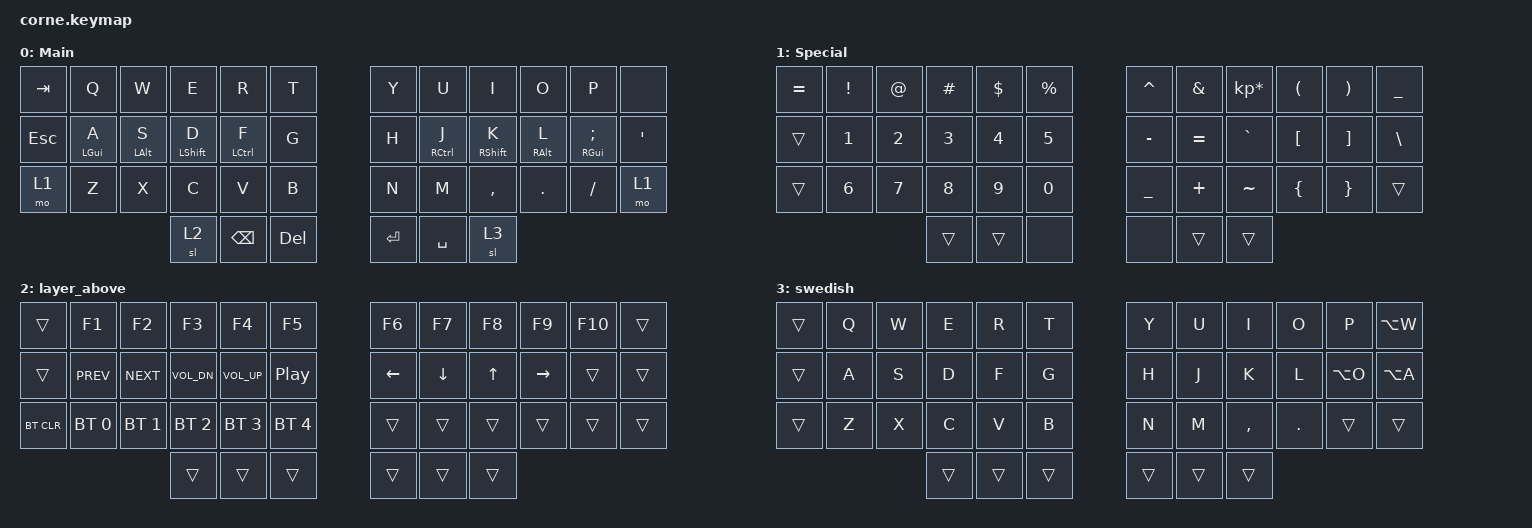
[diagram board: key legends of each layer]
#include <behaviors.dtsi>
#include <dt-bindings/zmk/bt.h>
#include <dt-bindings/zmk/keys.h>

// dt-formatter: indent = "  "
// dt-formatter: multilineIntegerCellsIndent = "reindent"
// dt-formatter: multilineListCommaStyle = "leading"

/ {
  behaviors {
    tp: tp {
      compatible = "zmk,behavior-hold-tap";
      label = "POSITIONAL_HOLD_TAP";
      bindings = <&kp>, <&kp>;

      #binding-cells = <2>;
      tapping-term-ms = <220>;
      quick-tap-ms = <250>;
      hold-trigger-on-release;
      flavor = "tap-preferred";
    };
  };

  macros {
    s_a: s_a {
      compatible = "zmk,behavior-macro";
      #binding-cells = <0>;
      bindings = <&kp LA(A)>;
      label = "S_A";
    };

    s_ae: s_ae {
      compatible = "zmk,behavior-macro";
      #binding-cells = <0>;
      bindings = <&kp LA(U) &kp A>;
      label = "S_AE";
    };

    s_oe: s_oe {
      compatible = "zmk,behavior-macro";
      #binding-cells = <0>;
      bindings = <&kp LA(U) &kp O>;
      label = "S_OE";
    };
  };

  combos {
    compatible = "zmk,combos";

    to_swedish_layer {
      bindings = <&to 2>;
      key-positions = <0 11>;
      layers = <0>;
    };

    to_default_layer {
      bindings = <&to 0>;
      key-positions = <0 11>;
      layers = <2>;
    };
  };

  keymap {
    compatible = "zmk,keymap";

    Main {
      // -----------------------------------------------------------------------------------------
      // | TAB  |  Q  |  W  |  E  |  R  |    T    |   |  Y  |  U   |  I  |  O  |  P  | ESC |
      // | CTRL |  A  |  S  |  D  |  F  |    G    |   |  H  |  J   |  K  |  L  |  ;  |  '   |
      // | SHFT |  Z  |  X  |  C  |  V  |    B    |   |  N  |  M   |  ,  |  .  |  /  | SHFT |
      //                    | GUI | LWR | ALT/ENT |   | HYPER/SPC | BKSP  | RSE |

      bindings = <
        &kp TAB     &kp Q           &kp W           &kp E             &kp R          &kp T         &kp Y      &kp U        &kp I        &kp O            &kp P                    &none
        &kp ESCAPE  &tp LEFT_GUI A  &tp LEFT_ALT S  &tp LEFT_SHIFT D  &tp LCTRL F    &kp G         &kp H      &tp RCTRL J  &tp RSHFT K  &tp RIGHT_ALT L  &tp RIGHT_GUI SEMICOLON  &kp SINGLE_QUOTE
        &mo 1       &kp Z           &kp X           &kp C             &kp V          &kp B         &kp N      &kp M        &kp COMMA    &kp DOT          &kp FSLH                 &mo 1
                                                    &sl 2             &kp BACKSPACE  &kp DELETE    &kp ENTER  &kp SPACE    &sl 3
      >;
    };

    Special {
      // -----------------------------------------------------------------------------------------
      // |      |  !  |  @  |  #  |  $  |    %     |   |  ^  |  &  |  *  |  (  |  )  |   \   |
      // |      |  1  |  2  |  3  |  4  |    5     |   |  -  |  =  |  `  |  [  |  ]  |  "|"  |
      // | SHFT |  6  |  7  |  8  |  9  |    0     |   |  _  |  +  |  ~  |  {  |  }  | RSHFT |
      //                     | GUI |     | ALT/ENT |   | HYPER/SPACE | BKSP |    |

      bindings = <
        &kp EQUAL  &kp EXCL  &kp AT  &kp HASH  &kp DLLR  &kp PRCNT    &kp CARET  &kp AMPS   &kp KP_MULTIPLY  &kp LPAR  &kp RPAR  &kp UNDERSCORE
        &trans     &kp N1    &kp N2  &kp N3    &kp N4    &kp N5       &kp MINUS  &kp EQUAL  &kp GRAVE        &kp LBKT  &kp RBKT  &kp BACKSLASH
        &trans     &kp N6    &kp N7  &kp N8    &kp N9    &kp N0       &kp UNDER  &kp PLUS   &kp TILDE        &kp LBRC  &kp RBRC  &trans
                                     &trans    &trans    &none        &none      &trans     &trans
      >;
    };

    layer_above {
      // -----------------------------------------------------------------------------------------
      // |       |  F1  |  F2  |  F3  |  F4  |  F5 |            |  F6  |  F7  |  F8  |  F9  |  F10  |   |
      // |       | Prev | Next | Vol - | Vol + | Play/Pause |   |      | LFT | DWN |  UP | RGT |     |     |
      // | BTCLR | BT1 | BT2 | BT3 | BT4 | BT5 |   |            |     |     |     |     |     |     |
      //                    |     |     |    |                  |     |     |     |

      bindings = <
        &trans      &kp F1        &kp F2        &kp F3        &kp F4        &kp F5          &kp F6    &kp F7    &kp F8  &kp F9     &kp F10  &trans
        &trans      &kp C_PREV    &kp C_NEXT    &kp C_VOL_DN  &kp C_VOL_UP  &kp C_PP        &kp LEFT  &kp DOWN  &kp UP  &kp RIGHT  &trans   &trans
        &bt BT_CLR  &bt BT_SEL 0  &bt BT_SEL 1  &bt BT_SEL 2  &bt BT_SEL 3  &bt BT_SEL 4    &trans    &trans    &trans  &trans     &trans   &trans
                                                &trans        &trans        &trans          &trans    &trans    &trans
      >;
    };

    swedish {
      bindings = <
        &trans  &kp Q  &kp W  &kp E   &kp R   &kp T     &kp Y   &kp U   &kp I      &kp O    &kp P      &kp LA(W)
        &trans  &kp A  &kp S  &kp D   &kp F   &kp G     &kp H   &kp J   &kp K      &kp L    &kp LA(O)  &kp LA(A)
        &trans  &kp Z  &kp X  &kp C   &kp V   &kp B     &kp N   &kp M   &kp COMMA  &kp DOT  &trans     &trans
                              &trans  &trans  &trans    &trans  &trans  &trans
      >;
    };
  };
};
